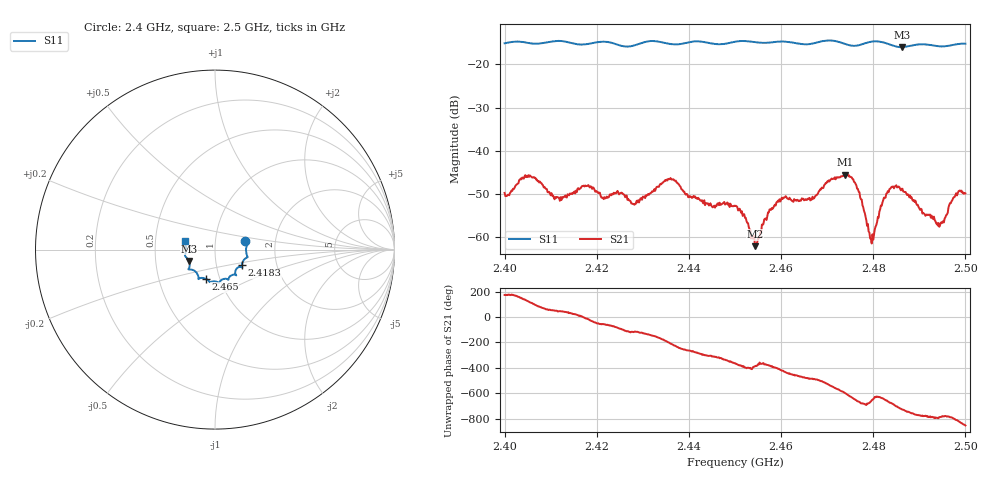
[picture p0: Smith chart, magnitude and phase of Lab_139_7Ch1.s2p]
# Hz S RI R 50
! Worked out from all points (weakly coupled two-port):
!   601 points, 2.4 GHz to 2.5 GHz, reference 50 ohm
!   highest |S21| = -45.51 dB at 2.4738 GHz (marker M1); lowest = -62.0 dB at 2.4543 GHz (marker M2)
!   lowest |S11| = -16.0 dB at 2.4862 GHz (marker M3), VSWR 1.37, Z = 37.1 - j4.82 ohm
!   |S11| at or under -10 dB: start of sweep to end of sweep
!   S12 and S22 are empty: the file has one direction only
!   S11 on the Smith chart (normalised r, x): 2.4 GHz: 1.40, +0.13; 2.4183 GHz: 1.33, -0.24; 2.465 GHz: 0.86, -0.29; 2.5 GHz: 0.71, +0.07
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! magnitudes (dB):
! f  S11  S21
! 2.4 GHz  -15.1  -49.7
! 2.405 GHz  -15.0  -46.0
! 2.4112 GHz  -14.6  -50.9
! 2.4167 GHz  -15.4  -48.3
! 2.4183 GHz  -15.2  -48.2
! 2.428 GHz  -15.7  -52.3
! 2.4333 GHz  -14.7  -48.3
! 2.4362 GHz  -15.3  -46.6
! 2.4403 GHz  -14.8  -50.6
! 2.45 GHz  -14.8  -52.8
! 2.4543 GHz  -14.9  -62.0
! 2.4592 GHz  -14.8  -51.8
! 2.465 GHz  -15.4  -51.4
! 2.4667 GHz  -15.2  -51.3
! 2.4738 GHz  -15.3  -45.5
! 2.4765 GHz  -15.7  -48.8
! 2.4797 GHz  -14.7  -61.4
! 2.4833 GHz  -15.3  -49.6
! 2.4862 GHz  -16.0  -48.8
! 2.4942 GHz  -15.8  -56.7
! 2.4983 GHz  -15.3  -49.8
! 2.5 GHz  -15.2  -49.8
